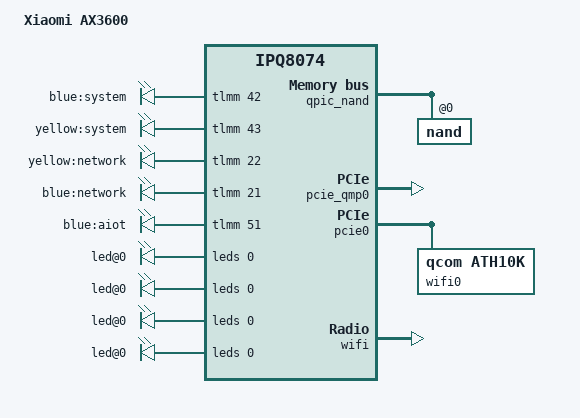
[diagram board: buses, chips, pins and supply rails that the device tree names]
// SPDX-License-Identifier: GPL-2.0-or-later OR MIT
/* Copyright (c) 2021, Robert Marko <robimarko@gmail.com> */

/dts-v1/;

#include "ipq8071-ax3600.dtsi"
#include <dt-bindings/leds/common.h>

/ {
	model = "Xiaomi AX3600";
	compatible = "xiaomi,ax3600", "qcom,ipq8074";

	aliases {
		/* Aliases as required by u-boot to patch MAC addresses */
		ethernet1 = &dp2;
		ethernet2 = &dp3;
		ethernet3 = &dp4;
		ethernet4 = &dp5;
	};

	chosen {
		bootargs-append = " root=/dev/ubiblock0_1";
	};

	leds {
		compatible = "gpio-leds";

		led_system_blue: system-blue {
			label = "blue:system";
			gpios = <&tlmm 42 GPIO_ACTIVE_HIGH>;
		};

		led_system_yellow: system-yellow {
			label = "yellow:system";
			gpios = <&tlmm 43 GPIO_ACTIVE_HIGH>;
		};

		network-yellow {
			label = "yellow:network";
			gpios = <&tlmm 22 GPIO_ACTIVE_HIGH>;
		};

		network-blue {
			label = "blue:network";
			gpios = <&tlmm 21 GPIO_ACTIVE_HIGH>;
		};

		aiot {
			label = "blue:aiot";
			gpios = <&tlmm 51 GPIO_ACTIVE_HIGH>;
			linux,default-trigger = "phy0tpt";
		};
	};
};

&qpic_nand {
	/delete-node/ partitions;

	nand@0 {
		/delete-node/ partitions;

		partitions {
			compatible = "qcom,smem-part";
		};
	};
};

&dp2 {
	/delete-property/ nvmem-cells;
	/delete-property/ nvmem-cell-names;
};

&dp3 {
	/delete-property/ nvmem-cells;
	/delete-property/ nvmem-cell-names;
};

&dp4 {
	/delete-property/ nvmem-cells;
	/delete-property/ nvmem-cell-names;
};

&dp5 {
	/delete-property/ nvmem-cells;
	/delete-property/ nvmem-cell-names;
};

&pcie_qmp0 {
	status = "okay";
};

&pcie0 {
	status = "okay";

	perst-gpio = <&tlmm 52 GPIO_ACTIVE_HIGH>;

	bridge@0,0 {
		reg = <0x00000000 0 0 0 0>;
		#address-cells = <3>;
		#size-cells = <2>;
		ranges;

		wifi0: wifi@1,0 {
			status = "okay";

			compatible = "qcom,ath10k";
			reg = <0x00010000 0 0 0 0>;

			qcom,ath10k-calibration-variant = "Xiaomi-AX3600";
		};
	};
};

&wifi {
	qcom,ath11k-calibration-variant = "Xiaomi-AX3600";
};

&qca8075_1 {
	leds {
		#address-cells = <1>;
		#size-cells = <0>;

		led@0 {
			reg = <0>;
			color = <LED_COLOR_ID_GREEN>;
			function = LED_FUNCTION_WAN;
			default-state = "keep";
		};
	};
};

&qca8075_2 {
	leds {
		#address-cells = <1>;
		#size-cells = <0>;

		led@0 {
			reg = <0>;
			color = <LED_COLOR_ID_GREEN>;
			function = LED_FUNCTION_LAN;
			default-state = "keep";
		};
	};
};

&qca8075_3 {
	leds {
		#address-cells = <1>;
		#size-cells = <0>;

		led@0 {
			reg = <0>;
			color = <LED_COLOR_ID_GREEN>;
			function = LED_FUNCTION_LAN;
			default-state = "keep";
		};
	};
};

&qca8075_4 {
	leds {
		#address-cells = <1>;
		#size-cells = <0>;

		led@0 {
			reg = <0>;
			color = <LED_COLOR_ID_GREEN>;
			function = LED_FUNCTION_LAN;
			default-state = "keep";
		};
	};
};
